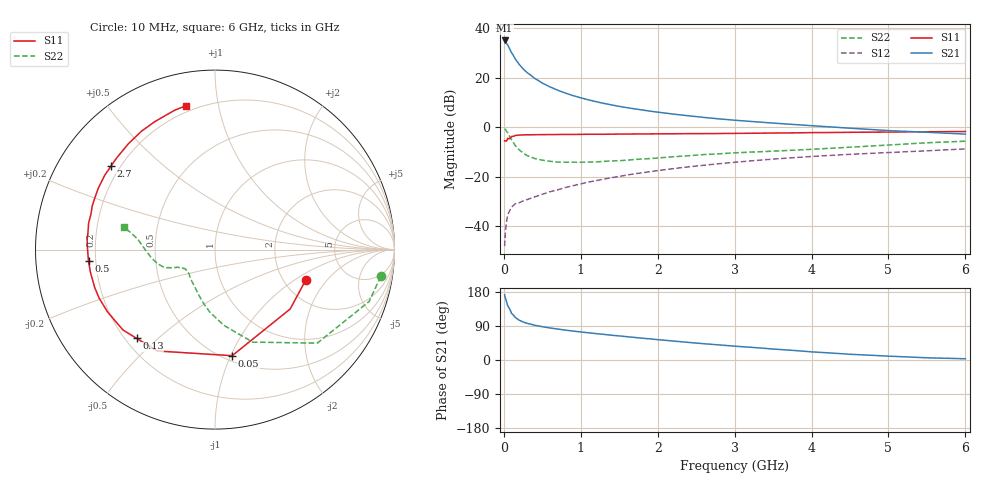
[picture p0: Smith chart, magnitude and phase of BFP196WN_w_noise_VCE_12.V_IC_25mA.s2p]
! (c) 2017  Infineon Technologies AG, Munich
! Infineon Technologies  Discrete & RF Semiconductors
! BFP196WN
! VCE =  12. V,  IC =  25 mA
! Common Emitter S-Parameters:  Jan 2017
# GHz  S  MA  R  50
!  f  S11  S21  S12  S22
! GHz  MAG  ANG  MAG  ANG  MAG  ANG  MAG  ANG
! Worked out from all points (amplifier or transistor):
!   77 points, 10 MHz to 6 GHz, reference 50 ohm
!   highest |S21| = 34.9 dB at 10 MHz (marker M1)
!   |S21| within 3 dB of that: start of sweep to 69.45 MHz
!   unconditionally stable (mu >= 1): 885.5 MHz to 2.703 GHz
!   at 130 MHz: K = 0.36, MSG = 30.0 dB, |S12| = -31.4 dB
!   at 2.2 GHz: K = 1.03, MAG = 10.0 dB, |S12| = -16.7 dB
!   at 6 GHz: K = 0.87, MSG = 3.0 dB, |S12| = -8.8 dB
!   lowest NFmin = 1.00 dB at 450 MHz
!   S11 on the Smith chart (normalised r, x): 10 MHz: 2.62, -1.24; 50 MHz: 0.55, -1.01; 130 MHz: 0.24, -0.43; 500 MHz: 0.17, -0.04; 2.7 GHz: 0.17, +0.34; 6 GHz: 0.17, +0.81
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0.01  0.5334 -18.5  55.87 172.0  0.004 71.1  0.9356 -9.2
0.02  0.5337 -38.3  52.68 163.3  0.0077 71.8  0.906 -18.6
0.05  0.5988 -80.8  45.41 143.2  0.0169 58.7  0.7726 -42.4
0.1  0.6503 -119.7  31.73 122.9  0.0245 47.2  0.5569 -67.8
0.13  0.6598 -131.5  26.7 117.2  0.027 43.4  0.4726 -76.2
0.15  0.6809 -138.9  23.56 112.0  0.0287 41.3  0.4239 -83.5
0.2  0.6921 -149.9  18.35 105.1  0.03 41.7  0.349 -94.8
0.25  0.6998 -157.2  15 100.4  0.0326 42.6  0.303 -102.7
0.3  0.7027 -162.5  12.65 96.9  0.0346 43.4  0.2689 -109.6
0.4  0.7055 -169.7  9.637 91.6  0.0393 48.4  0.2336 -119.6
0.5  0.7077 -174.7  7.746 87.8  0.0444 50.7  0.2162 -127.4
0.6  0.7087 -178.4  6.48 84.5  0.05 53.8  0.2052 -133.1
0.7  0.7116 178.4  5.553 81.7  0.0545 56.3  0.1978 -137.1
0.9  0.714 172.9  4.323 76.3  0.0662 59.6  0.1967 -142.8
1.1  0.7193 168.4  3.551 71.8  0.0782 61.6  0.1975 -146.8
1.5  0.7254 160.8  2.623 63.5  0.1018 62.8  0.2113 -151.9
2.1  0.7355 150.7  1.921 51.9  0.1395 61.8  0.2462 -156.2
2.7  0.7431 141.3  1.519 41.4  0.1772 59.2  0.2853 -159.3
3.1  0.7507 135.3  1.344 35.1  0.2021 56.6  0.3089 -162.5
4.1  0.778 120.5  1.046 20.3  0.2618 49.5  0.3649 -174.6
5.1  0.7988 109.4  0.839 9.3  0.3132 42.3  0.4458 171.3
6  0.818 101.2  0.725 3.2  0.3644 36.2  0.5216 166.2
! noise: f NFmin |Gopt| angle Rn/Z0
0.45  1  0.43  174  0.05
0.9  1.15  0.51  182  0.05
1.9  2.08  0.68  210  0.13
2.4  2.83  0.69  217  0.23
